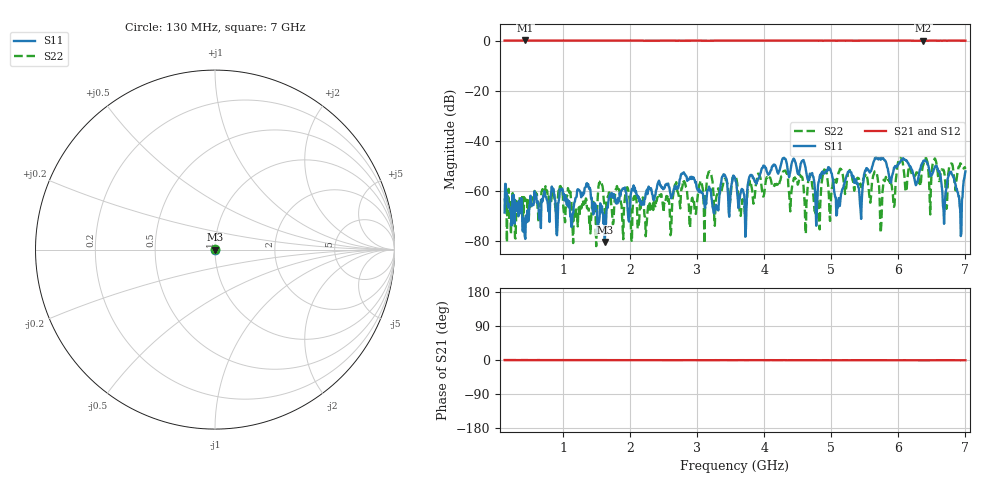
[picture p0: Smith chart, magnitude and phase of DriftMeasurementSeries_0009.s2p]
# Hz S RI R 50.000000
! Metas.Vna.Tools, 2.8.8664.20301
! Metas.Vna.Data, 2.8.8664.20285
! Created: UTC 2024.02.11 10:08:09
! FREQ  re:S1,1  im:S1,1  re:S2,1  im:S2,1  re:S1,2  im:S1,2  re:S2,2  im:S2,2
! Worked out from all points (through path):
!   801 points, 130 MHz to 7 GHz, reference 50 ohm
!   highest |S21| = 0.02 dB at 439.1 MHz (marker M1); lowest = -0.1 dB at 6.373 GHz (marker M2)
!   lowest |S11| = -80.3 dB at 1.624 GHz (marker M3), VSWR 1.00, Z = 50 + j0.00954 ohm
!   |S11| at or under -10 dB: start of sweep to end of sweep
!   |S22| runs from -81.9 to -46.7 dB; largest |S21 - S12| = 0.011
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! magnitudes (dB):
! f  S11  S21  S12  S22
! 130 MHz  -68.5  0.0  0.0  -62.8
! 439.1 MHz  -79.0  0.0  0.0  -64.4
! 1.281 GHz  -61.0  0.0  0.0  -66.4
! 1.624 GHz  -80.3  0.0  0.0  -69.0
! 2.423 GHz  -56.4  -0.1  0.0  -61.0
! 2.904 GHz  -54.3  0.0  0.0  -68.4
! 3.187 GHz  -59.3  -0.1  0.0  -52.1
! 3.282 GHz  -65.5  -0.1  0.0  -63.4
! 3.565 GHz  -54.6  0.0  0.0  -53.9
! 3.685 GHz  -59.6  0.0  0.0  -65.4
! 3.917 GHz  -55.0  0.0  0.0  -53.4
! 4.716 GHz  -52.8  0.0  0.0  -57.9
! 4.973 GHz  -51.6  0.0  0.0  -68.8
! 5.102 GHz  -66.5  -0.1  0.0  -53.5
! 5.265 GHz  -52.0  -0.1  0.0  -52.2
! 5.437 GHz  -67.5  -0.1  0.0  -57.0
! 5.66 GHz  -46.8  0.0  0.0  -52.0
! 5.738 GHz  -47.5  0.0  0.0  -76.7
! 5.858 GHz  -53.4  0.0  0.0  -55.8
! 6.373 GHz  -47.9  -0.1  0.0  -49.5
! 6.923 GHz  -67.5  0.0  0.0  -48.9
! 7 GHz  -52.2  -0.1  0.0  -51.1
